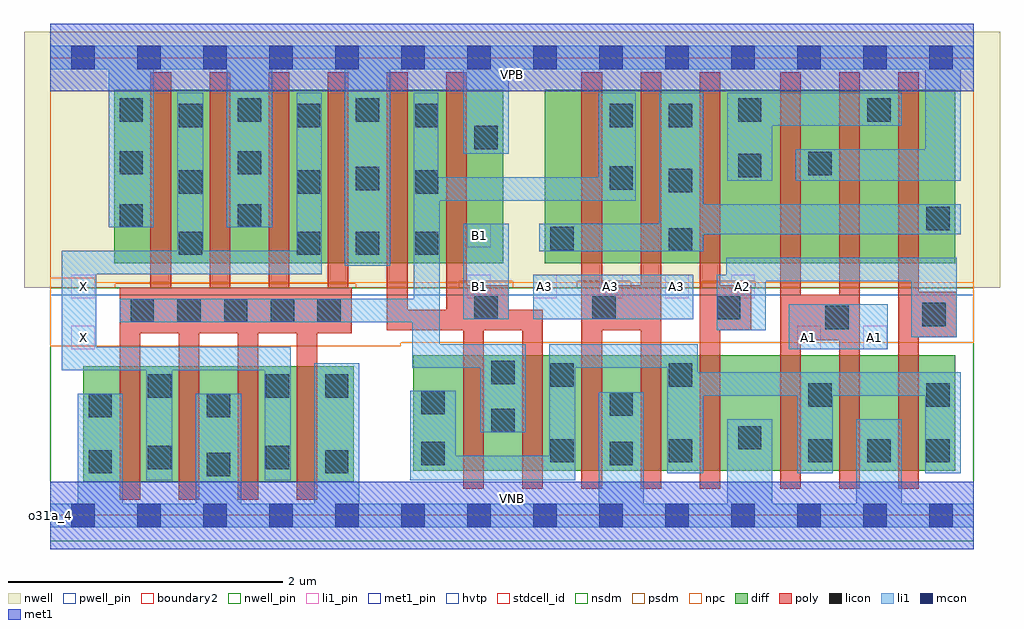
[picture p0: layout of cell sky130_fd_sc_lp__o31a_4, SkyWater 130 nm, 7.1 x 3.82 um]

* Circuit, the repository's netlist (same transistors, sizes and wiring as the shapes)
* Copyright 2020 The SkyWater PDK Authors
*
* Licensed under the Apache License, Version 2.0 (the "License");
* you may not use this file except in compliance with the License.
* You may obtain a copy of the License at
*
*     https://www.apache.org/licenses/LICENSE-2.0
*
* Unless required by applicable law or agreed to in writing, software
* distributed under the License is distributed on an "AS IS" BASIS,
* WITHOUT WARRANTIES OR CONDITIONS OF ANY KIND, either express or implied.
* See the License for the specific language governing permissions and
* limitations under the License.
*
* SPDX-License-Identifier: Apache-2.0

.SUBCKT sky130_fd_sc_lp__o31a_4 A1 A2 A3 B1 VGND VNB VPB VPWR X
*.PININFO A1:I A2:I A3:I B1:I VGND:I VNB:I VPB:I VPWR:I X:O
MMPA0 VPWR A1 sndA1 VPB sky130_fd_pr__pfet_01v8_hvt m=2 w=1.26U l=0.15U mult=1
+ sa=0.265 sb=0.265 sd=0.28 area=0.063 perim=1.14
MMPA1 sndA1 A2 sndA2 VPB sky130_fd_pr__pfet_01v8_hvt m=2 w=1.26U l=0.15U mult=1
+ sa=0.265 sb=0.265 sd=0.28 area=0.063 perim=1.14
MMPA2 sndA2 A3 y VPB sky130_fd_pr__pfet_01v8_hvt m=2 w=1.26U l=0.15U mult=1 sa=0.265
+ sb=0.265 sd=0.28 area=0.063 perim=1.14
MMPB0 VPWR B1 y VPB sky130_fd_pr__pfet_01v8_hvt m=2 w=1.26U l=0.15U mult=1 sa=0.265
+ sb=0.265 sd=0.28 area=0.063 perim=1.14
MMIPX X y VPWR VPB sky130_fd_pr__pfet_01v8_hvt m=4 w=1.26U l=0.15U mult=1 sa=0.265
+ sb=0.265 sd=0.28 area=0.063 perim=1.14
MMNA0 pndA A1 VGND VNB sky130_fd_pr__nfet_01v8 m=2 w=0.84U l=0.15U mult=1 sa=0.265
+ sb=0.265 sd=0.28 area=0.063 perim=1.14
MMNA1 pndA A2 VGND VNB sky130_fd_pr__nfet_01v8 m=2 w=0.84U l=0.15U mult=1 sa=0.265
+ sb=0.265 sd=0.28 area=0.063 perim=1.14
MMNA2 pndA A3 VGND VNB sky130_fd_pr__nfet_01v8 m=2 w=0.84U l=0.15U mult=1 sa=0.265
+ sb=0.265 sd=0.28 area=0.063 perim=1.14
MMNB0 y B1 pndA VNB sky130_fd_pr__nfet_01v8 m=2 w=0.84U l=0.15U mult=1 sa=0.265
+ sb=0.265 sd=0.28 area=0.063 perim=1.14
MMINX X y VGND VNB sky130_fd_pr__nfet_01v8 m=4 w=0.84U l=0.15U mult=1 sa=0.265
+ sb=0.265 sd=0.28 area=0.063 perim=1.14
.ENDS sky130_fd_sc_lp__o31a_4

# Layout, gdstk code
import gdstk
lib = gdstk.Library(unit=1e-6, precision=1e-09)
def R(c, l, rs):  # rectangles x0, y0, x1, y1
    for r in rs: c.add(gdstk.rectangle(r[:2], r[2:], *l))
def A(c, l, x, y, w, h, nx, ny, dx, dy):  # array of equal rectangles
    R(c, l, [(x+i*dx, y+j*dy, x+i*dx+w, y+j*dy+h) for i in range(nx) for j in range(ny)])
def P(c, l, *ps):  # polygons
    for p in ps: c.add(gdstk.Polygon(p, *l))
nwell_pin = (64, 16)
nwell = (64, 20)
diff = (65, 20)
poly = (66, 20)
licon = (66, 44)
li1_pin = (67, 16)
li1 = (67, 20)
mcon = (67, 44)
met1_pin = (68, 16)
met1 = (68, 20)
hvtp = (78, 44)
stdcell_id = (81, 4)
nsdm = (93, 44)
psdm = (94, 20)
npc = (95, 20)
pwell_pin = (122, 16)
boundary2 = (236, 0)

sky130_fd_sc_lp__o31a_4 = lib.new_cell('sky130_fd_sc_lp__o31a_4')
R(sky130_fd_sc_lp__o31a_4, nwell_pin, [(0,3.085,6.72,3.33)])
R(sky130_fd_sc_lp__o31a_4, nwell, [(-0.19,1.655,6.91,3.52)])
R(sky130_fd_sc_lp__o31a_4, diff, [(0.24,0.245,2.21,1.085), (2.64,0.325,6.585,1.165), (0.465,1.835,3.295,3.095), (3.6,1.835,6.585,3.095)])
P(sky130_fd_sc_lp__o31a_4, poly, [(2.195,1.655),(2.17,1.655),(2.17,3.225),(2.02,3.225),(2.02,1.655),(1.74,1.655),(1.74,3.225),(1.59,3.225),(1.59,1.655),(1.31,1.655),(1.31,3.225),(1.16,3.225),(1.16,1.655),(0.88,1.655),(0.88,3.225),(0.73,3.225),(0.73,1.655),(0.505,1.655),(0.505,0.115),(0.655,0.115),(0.655,1.325),(0.935,1.325),(0.935,0.115),(1.085,0.115),(1.085,1.325),(1.365,1.325),(1.365,0.115),(1.515,0.115),(1.515,1.325),(1.795,1.325),(1.795,0.115),(1.945,0.115),(1.945,1.325),(2.195,1.325)],
  [(3.585,1.495),(3.335,1.495),(3.335,1.675),(3.03,1.675),(3.03,3.225),(2.88,3.225),(2.88,1.495),(2.6,1.495),(2.6,3.225),(2.45,3.225),(2.45,1.345),(3.005,1.345),(3.005,0.195),(3.155,0.195),(3.155,1.345),(3.435,1.345),(3.435,0.195),(3.585,0.195)],
  [(4.445,3.225),(4.295,3.225),(4.295,1.675),(4.015,1.675),(4.015,3.225),(3.865,3.225),(3.865,0.195),(4.015,0.195),(4.015,1.345),(4.295,1.345),(4.295,0.195),(4.445,0.195)],
  [(5.1,1.675),(4.875,1.675),(4.875,3.225),(4.725,3.225),(4.725,0.195),(4.875,0.195),(4.875,1.345),(5.1,1.345)],
  [(5.89,3.225),(5.74,3.225),(5.74,1.605),(5.46,1.605),(5.46,3.225),(5.31,3.225),(5.31,0.195),(5.46,0.195),(5.46,1.275),(5.74,1.275),(5.74,0.195),(5.89,0.195)],
  [(6.595,1.625),(6.32,1.625),(6.32,3.225),(6.17,3.225),(6.17,0.195),(6.32,0.195),(6.32,1.295),(6.595,1.295)])
A(sky130_fd_sc_lp__o31a_4, licon, 5.515, 0.385, 0.17, 0.17, 3, 1, 0.43, 0)
A(sky130_fd_sc_lp__o31a_4, licon, 0.585, 1.405, 0.17, 0.17, 5, 1, 0.34, 0)
A(sky130_fd_sc_lp__o31a_4, licon, 1.795, 1.895, 0.17, 0.17, 3, 1, 0.43, 0)
A(sky130_fd_sc_lp__o31a_4, licon, 0.935, 2.34, 0.17, 0.17, 3, 2, 0.86, 0.485)
A(sky130_fd_sc_lp__o31a_4, licon, 0.505, 2.865, 0.17, 0.17, 3, 1, 0.86, 0)
R(sky130_fd_sc_lp__o31a_4, licon, [(1.14,0.285,1.31,0.455), (0.28,0.305,0.45,0.475), (2,0.305,2.17,0.475), (0.71,0.335,0.88,0.505), (1.57,0.335,1.74,0.505), (2.7,0.365,2.87,0.535), (4.07,0.365,4.24,0.535), (3.64,0.385,3.81,0.555), (4.5,0.385,4.67,0.555), (5.005,0.48,5.175,0.65), (3.21,0.605,3.38,0.775), (0.28,0.715,0.45,0.885), (1.14,0.715,1.31,0.885), (4.07,0.725,4.24,0.895), (2.7,0.735,2.87,0.905), (5.515,0.79,5.685,0.96), (6.375,0.79,6.545,0.96), (0.71,0.855,0.88,1.025), (1.57,0.855,1.74,1.025), (2,0.855,2.17,1.025), (3.64,0.935,3.81,1.105), (4.5,0.935,4.67,1.105), (3.21,0.955,3.38,1.125), (5.64,1.355,5.81,1.525), (6.345,1.375,6.515,1.545), (3.085,1.425,3.255,1.595), (3.945,1.425,4.115,1.595), (4.85,1.425,5.02,1.595), (0.935,1.895,1.105,2.065), (4.5,1.92,4.67,2.09), (3.64,1.93,3.81,2.1), (6.375,2.075,6.545,2.245), (0.505,2.095,0.675,2.265), (1.365,2.095,1.535,2.265), (4.5,2.35,4.67,2.52), (2.225,2.365,2.395,2.535), (4.07,2.37,4.24,2.54), (5.005,2.46,5.175,2.63), (5.515,2.475,5.685,2.645), (0.505,2.48,0.675,2.65), (1.365,2.48,1.535,2.65), (3.085,2.665,3.255,2.835), (4.07,2.825,4.24,2.995), (4.5,2.825,4.67,2.995), (5.005,2.865,5.175,3.035), (5.945,2.865,6.115,3.035)])
A(sky130_fd_sc_lp__o31a_4, li1_pin, 3.035, 1.58, 0.17, 0.17, 5, 1, 0.48, 0)
R(sky130_fd_sc_lp__o31a_4, li1_pin, [(0.155,1.21,0.325,1.38), (5.435,1.21,5.605,1.38), (5.915,1.21,6.085,1.38), (0.155,1.58,0.325,1.75), (3.035,1.95,3.205,2.12)])
R(sky130_fd_sc_lp__o31a_4, li1, [(5.375,1.21,6.095,1.535), (3.005,1.425,3.335,2.12), (3.515,1.425,4.68,1.75)])
P(sky130_fd_sc_lp__o31a_4, li1, [(3.005,2.63),(3.005,3.245),(2.475,3.245),(2.475,1.815),(2.145,1.815),(2.145,3.245),(1.615,3.245),(1.615,2.095),(1.285,2.095),(1.285,3.245),(0.755,3.245),(0.755,2.095),(0.425,2.095),(0.425,3.245),(0,3.245),(0,3.415),(6.72,3.415),(6.72,3.245),(6.625,3.245),(6.625,2.435),(5.425,2.435),(5.425,2.665),(6.365,2.665),(6.365,3.245),(3.335,3.245),(3.335,2.63)],
  [(3.99,0.085),(3.99,0.895),(4.32,0.895),(4.32,0.085),(4.925,0.085),(4.925,0.7),(5.255,0.7),(5.255,0.085),(5.865,0.085),(5.865,0.7),(6.195,0.7),(6.195,0.085),(6.72,0.085),(6.72,-0.085),(0,-0.085),(0,0.085),(0.2,0.085),(0.2,0.885),(0.53,0.885),(0.53,0.085),(1.06,0.085),(1.06,0.885),(1.39,0.885),(1.39,0.085),(1.92,0.085),(1.92,1.105),(2.25,1.105),(2.25,0.085)],
  [(2.645,1.575),(2.645,3.075),(2.825,3.075),(2.825,2.46),(3.99,2.46),(3.99,3.075),(4.26,3.075),(4.26,2.29),(2.835,2.29),(2.835,1.245),(3.46,1.245),(3.46,0.605),(3.13,0.605),(3.13,1.075),(2.635,1.075),(2.635,1.405),(0.505,1.405),(0.505,1.575)],
  [(4.92,1.75),(4.92,1.875),(6.595,1.875),(6.595,1.295),(6.265,1.295),(6.265,1.705),(5.205,1.705),(5.205,1.345),(4.85,1.345),(4.85,1.75)],
  [(5.255,2.835),(5.255,2.435),(4.925,2.435),(4.925,3.075),(6.195,3.075),(6.195,2.835)],
  [(4.75,2.265),(6.625,2.265),(6.625,2.045),(4.75,2.045),(4.75,1.92),(3.56,1.92),(3.56,2.12),(4.43,2.12),(4.43,3.075),(4.75,3.075)],
  [(1.115,1.925),(1.795,1.925),(1.795,3.075),(1.975,3.075),(1.975,1.755),(0.335,1.755),(0.335,1.225),(1.75,1.225),(1.75,0.255),(1.56,0.255),(1.56,1.055),(0.89,1.055),(0.89,0.255),(0.7,0.255),(0.7,1.055),(0.085,1.055),(0.085,1.925),(0.925,1.925),(0.925,3.075),(1.115,3.075)],
  [(6.365,0.87),(5.695,0.87),(5.695,0.305),(5.435,0.305),(5.435,0.87),(4.75,0.87),(4.75,0.305),(4.49,0.305),(4.49,1.075),(3.82,1.075),(3.82,0.255),(2.62,0.255),(2.62,0.905),(2.95,0.905),(2.95,0.435),(3.63,0.435),(3.63,1.245),(4.71,1.245),(4.71,1.04),(6.625,1.04),(6.625,0.305),(6.365,0.305)])
A(sky130_fd_sc_lp__o31a_4, mcon, 0.155, -0.085, 0.17, 0.17, 14, 2, 0.48, 3.33)
R(sky130_fd_sc_lp__o31a_4, met1_pin, [(0,0,6.72,0.245), (0,3.085,6.72,3.33)])
R(sky130_fd_sc_lp__o31a_4, met1, [(0,-0.245,6.72,0.245), (0,3.085,6.72,3.575)])
R(sky130_fd_sc_lp__o31a_4, hvtp, [(0,1.6,6.72,3.33)])
R(sky130_fd_sc_lp__o31a_4, stdcell_id, [(0,0,6.72,3.33)])
R(sky130_fd_sc_lp__o31a_4, nsdm, [(0,-0.19,6.72,1.655)])
P(sky130_fd_sc_lp__o31a_4, psdm, [(6.72,3.52),(0,3.52),(0,1.655),(0.475,1.655),(0.475,1.685),(2.225,1.685),(2.225,1.655),(2.975,1.655),(2.975,1.705),(3.365,1.705),(3.365,1.655),(3.835,1.655),(3.835,1.705),(4.225,1.705),(4.225,1.655),(4.74,1.655),(4.74,1.705),(5.13,1.705),(5.13,1.655),(6.72,1.655)])
P(sky130_fd_sc_lp__o31a_4, npc, [(6.72,1.695),(0.325,1.695),(0.325,1.73),(0,1.73),(0,1.23),(2.55,1.23),(2.55,1.255),(6.72,1.255)])
R(sky130_fd_sc_lp__o31a_4, pwell_pin, [(0,0,6.72,0.245)])
R(sky130_fd_sc_lp__o31a_4, boundary2, [(0,0,6.72,3.33)])
sky130_fd_sc_lp__o31a_4.add(gdstk.Label('VNB', (3.36,0.123), layer=64, texttype=59))
sky130_fd_sc_lp__o31a_4.add(gdstk.Label('VPB', (3.36,3.208), layer=64, texttype=5))
sky130_fd_sc_lp__o31a_4.add(gdstk.Label('o31a_4', (0,0), layer=83, texttype=44))
sky130_fd_sc_lp__o31a_4.add(gdstk.Label('VPWR', (3.36,3.208), layer=68, texttype=5))
sky130_fd_sc_lp__o31a_4.add(gdstk.Label('VGND', (3.36,0.123), layer=68, texttype=5))
sky130_fd_sc_lp__o31a_4.add(gdstk.Label('A1', (5.52,1.295), layer=67, texttype=5))
sky130_fd_sc_lp__o31a_4.add(gdstk.Label('A1', (6,1.295), layer=67, texttype=5))
sky130_fd_sc_lp__o31a_4.add(gdstk.Label('A3', (3.6,1.665), layer=67, texttype=5))
sky130_fd_sc_lp__o31a_4.add(gdstk.Label('A3', (4.08,1.665), layer=67, texttype=5))
sky130_fd_sc_lp__o31a_4.add(gdstk.Label('A3', (4.56,1.665), layer=67, texttype=5))
sky130_fd_sc_lp__o31a_4.add(gdstk.Label('B1', (3.12,1.665), layer=67, texttype=5))
sky130_fd_sc_lp__o31a_4.add(gdstk.Label('B1', (3.12,2.035), layer=67, texttype=5))
sky130_fd_sc_lp__o31a_4.add(gdstk.Label('X', (0.24,1.295), layer=67, texttype=5))
sky130_fd_sc_lp__o31a_4.add(gdstk.Label('X', (0.24,1.665), layer=67, texttype=5))
sky130_fd_sc_lp__o31a_4.add(gdstk.Label('A2', (5.04,1.665), layer=67, texttype=5))

lib.write_gds('sky130_fd_sc_lp__o31a_4.gds')
